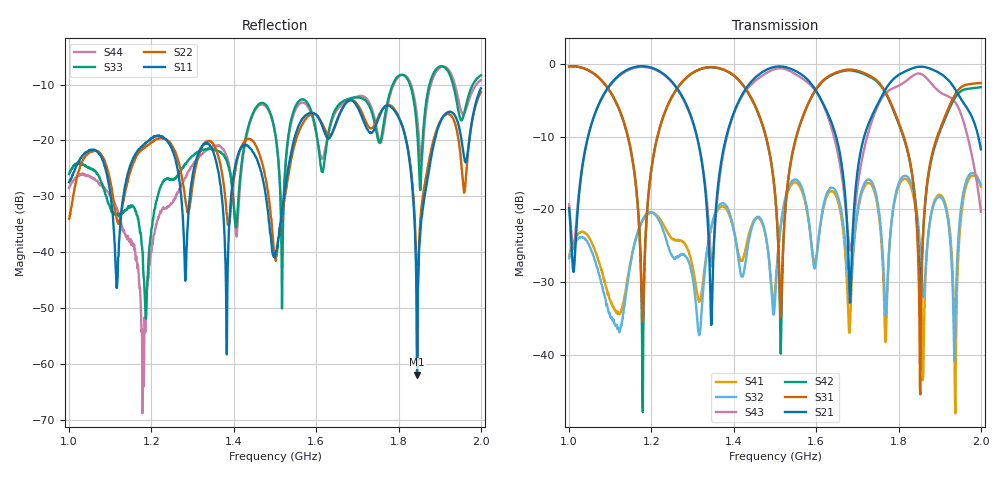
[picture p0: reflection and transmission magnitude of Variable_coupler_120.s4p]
#  HZ  S  DB  R  50.00
! Rohde & Schwarz Vector Network Analyzer
! Rohde-Schwarz,ZNB8-4Port,1311601044102961,2.82
! Created: UTC 1/17/2019, 3:17:34 PM
! freq[Hz]  db:S11  ang:S11  db:S12  ang:S12  db:S13  ang:S13  db:S14  ang:S14
!  db:S21  ang:S21  db:S22  ang:S22  db:S23  ang:S23  db:S24  ang:S24
!  db:S31  ang:S31  db:S32  ang:S32  db:S33  ang:S33  db:S34  ang:S34
!  db:S41  ang:S41  db:S42  ang:S42  db:S43  ang:S43  db:S44  ang:S44
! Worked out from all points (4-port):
!   1001 points, 1 GHz to 2 GHz, reference 50 ohm
!   strongest paths, dB at 1 GHz, 1.25 GHz, 1.5 GHz, 1.75 GHz, 2 GHz:
!     S21: -19.8, -2.5, -0.4, -5.5, -11.7
!     S31: -0.4, -4.5, -17.8, -2.5, -2.7
!     S42: -0.4, -4.5, -17.9, -2.6, -3.2
!     S43: -19.3, -2.6, -0.7, -5.7, -20.3
!     S32: -26.7, -26.4, -32.5, -19.3, -16.6
!     S41: -26.4, -24.0, -31.2, -19.9, -16.9
!   lowest |S11| = -62.0 dB at 1.845 GHz (marker M1), VSWR 1.00, Z = 50 - j0.0769 ohm
!   |S11| at or under -10 dB: start of sweep to end of sweep
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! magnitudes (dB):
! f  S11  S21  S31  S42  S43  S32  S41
! 1 GHz  -27.5  -19.8  -0.4  -0.4  -19.3  -26.7  -26.4
! 1.18 GHz  -20.9  -0.4  -33.5  -37.6  -0.5  -21.2  -21.4
! 1.322 GHz  -21.2  -13.4  -0.7  -0.7  -13.2  -33.9  -31.3
! 1.514 GHz  -34.6  -0.4  -34.8  -39.8  -0.6  -22.2  -22.3
! 1.78 GHz  -13.9  -2.6  -5.2  -5.4  -3.6  -23.4  -23.5
! 1.845 GHz  -62.0  -0.5  -22.9  -22.2  -1.4  -20.5  -21.6
! 2 GHz  -10.7  -11.7  -2.7  -3.2  -20.3  -16.6  -16.9
